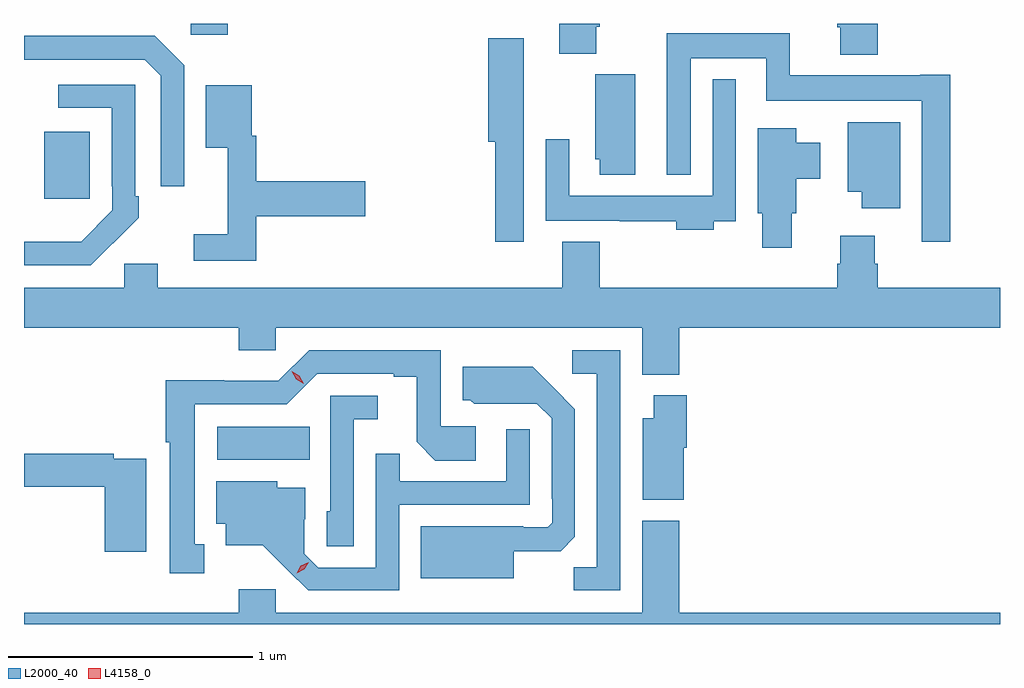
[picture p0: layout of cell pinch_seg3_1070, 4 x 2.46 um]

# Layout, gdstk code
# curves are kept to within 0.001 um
import gdstk
lib = gdstk.Library(unit=1e-6, precision=1e-09)
def R(c, l, rs):  # rectangles x0, y0, x1, y1
    for r in rs: c.add(gdstk.rectangle(r[:2], r[2:], *l))
def P(c, l, *ps):  # polygons
    for p in ps: c.add(gdstk.Polygon(p, *l))
L2000_40 = (2000, 40)
L4158_0 = (4158, 0)

pinch_seg3_1070 = lib.new_cell('pinch_seg3_1070')
R(pinch_seg3_1070, L2000_40, [(325.632,667.076,326.012,667.21), (324.923,668.145,325.111,668.419), (325.524,668.817,325.676,668.863)])
P(pinch_seg3_1070, L2000_40, [(327.187,668.849),(327.2,668.849),(327.2,668.863),(327.035,668.863),(327.035,668.74),(327.187,668.74)],
  [(328.34,668.863),(328.175,668.863),(328.175,668.847),(328.187,668.847),(328.187,668.735),(328.34,668.735)],
  [(328.637,668.653),(328.514,668.653),(328.514,668.65),(327.98,668.65),(327.98,668.824),(327.476,668.824),(327.476,668.243),(327.573,668.243),(327.573,668.72),(327.882,668.72),(327.882,668.546),(328.521,668.546),(328.521,667.968),(328.637,667.968)],
  [(325.497,668.691),(325.376,668.812),(324.841,668.812),(324.841,668.715),(325.335,668.715),(325.401,668.649),(325.401,668.196),(325.497,668.196)],
  [(326.889,668.482),(326.89,668.482),(326.89,668.803),(326.744,668.803),(326.744,668.378),(326.773,668.378),(326.773,667.968),(326.889,667.968)],
  [(327.346,668.655),(327.182,668.655),(327.182,668.307),(327.2,668.307),(327.2,668.244),(327.346,668.244)],
  [(327.667,668.052),(327.759,668.052),(327.759,668.635),(327.663,668.635),(327.663,668.158),(327.075,668.158),(327.075,668.389),(326.979,668.389),(326.979,668.054),(327.283,668.054),(327.283,668.052),(327.515,668.052),(327.515,668.018),(327.667,668.018)],
  [(325.205,667.963),(325.206,667.962),(325.311,668.067),(325.311,668.155),(325.296,668.155),(325.296,668.613),(324.981,668.613),(324.981,668.517),(325.2,668.517),(325.2,668.197),(325.203,668.197),(325.203,668.097),(325.075,667.969),(324.841,667.968),(324.841,667.872),(325.114,667.872)],
  [(325.793,668.074),(326.239,668.074),(326.239,668.216),(325.793,668.216),(325.793,668.403),(325.774,668.403),(325.774,668.611),(325.586,668.611),(325.586,668.354),(325.676,668.354),(325.676,667.999),(325.536,667.999),(325.536,667.89),(325.793,667.89)],
  [(328.432,668.458),(328.217,668.458),(328.217,668.174),(328.274,668.174),(328.274,668.106),(328.432,668.106)],
  [(327.988,668.085),(328.006,668.085),(328.006,668.227),(328.105,668.227),(328.105,668.374),(328.006,668.374),(328.006,668.434),(327.848,668.434),(327.848,668.085),(327.866,668.085),(327.866,667.944),(327.988,667.944)],
  [(328.187,667.993),(328.187,667.878),(328.175,667.878),(328.175,667.78),(327.2,667.78),(327.2,667.969),(327.047,667.969),(327.047,667.78),(325.39,667.78),(325.39,667.878),(325.251,667.878),(325.251,667.78),(324.841,667.78),(324.841,667.616),(325.721,667.616),(325.721,667.523),(325.872,667.523),(325.872,667.616),(327.374,667.616),(327.374,667.424),(327.527,667.424),(327.527,667.616),(328.841,667.616),(328.841,667.78),(328.34,667.78),(328.34,667.878),(328.327,667.878),(328.327,667.993)],
  [(327.285,667.524),(327.087,667.524),(327.087,667.428),(327.189,667.428),(327.189,666.635),(327.094,666.635),(327.094,666.54),(327.285,666.54)],
  [(325.579,666.729),(325.54,666.729),(325.54,667.302),(325.917,667.302),(326.043,667.428),(326.357,667.428),(326.357,667.416),(326.451,667.416),(326.451,667.148),(326.527,667.072),(326.692,667.072),(326.692,667.212),(326.55,667.212),(326.55,667.524),(326.01,667.524),(325.884,667.398),(325.662,667.398),(325.662,667.4),(325.422,667.4),(325.422,667.147),(325.439,667.147),(325.439,666.609),(325.579,666.609)],
  [(326.848,666.701),(327.04,666.701),(327.099,666.76),(327.099,667.282),(326.927,667.456),(326.639,667.456),(326.639,667.32),(326.67,667.32),(326.686,667.304),(326.943,667.305),(327.003,667.245),(327.003,666.916),(327.006,666.916),(327.006,666.816),(326.988,666.798),(326.888,666.798),(326.888,666.802),(326.468,666.802),(326.468,666.59),(326.848,666.59)],
  [(327.544,667.125),(327.557,667.125),(327.557,667.339),(327.422,667.339),(327.422,667.246),(327.377,667.246),(327.377,666.911),(327.544,666.911)],
  [(326.193,667.241),(326.29,667.241),(326.29,667.338),(326.097,667.338),(326.097,666.864),(326.082,666.864),(326.082,666.721),(326.193,666.721)],
  [(326.379,666.891),(326.913,666.891),(326.913,667.201),(326.817,667.201),(326.817,666.987),(326.381,666.987),(326.381,667.1),(326.283,667.1),(326.283,666.633),(326.046,666.633),(325.989,666.69),(325.989,666.832),(325.993,666.832),(325.993,666.961),(325.878,666.961),(325.878,666.988),(325.628,666.988),(325.628,666.812),(325.667,666.812),(325.667,666.725),(325.819,666.725),(326.006,666.54),(326.379,666.54)],
  [(325.342,667.08),(325.208,667.08),(325.208,667.1),(324.841,667.1),(324.841,666.964),(325.172,666.964),(325.172,666.699),(325.342,666.699)],
  [(327.527,666.826),(327.374,666.826),(327.374,666.448),(325.872,666.448),(325.872,666.544),(325.721,666.544),(325.721,666.448),(324.841,666.448),(324.841,666.4),(328.841,666.4),(328.841,666.448),(327.527,666.448)])
P(pinch_seg3_1070, L4158_0, [(325.958,666.61),(325.958,666.611),(325.976,666.64),(326.007,666.656),(326.007,666.656),(326.007,666.655),(325.99,666.626),(325.959,666.61)],
  [(325.988,667.387),(325.956,667.405),(325.938,667.437),(325.938,667.438),(325.939,667.438),(325.97,667.419),(325.988,667.387),(325.988,667.387)])

lib.write_gds('pinch_seg3_1070.gds')
